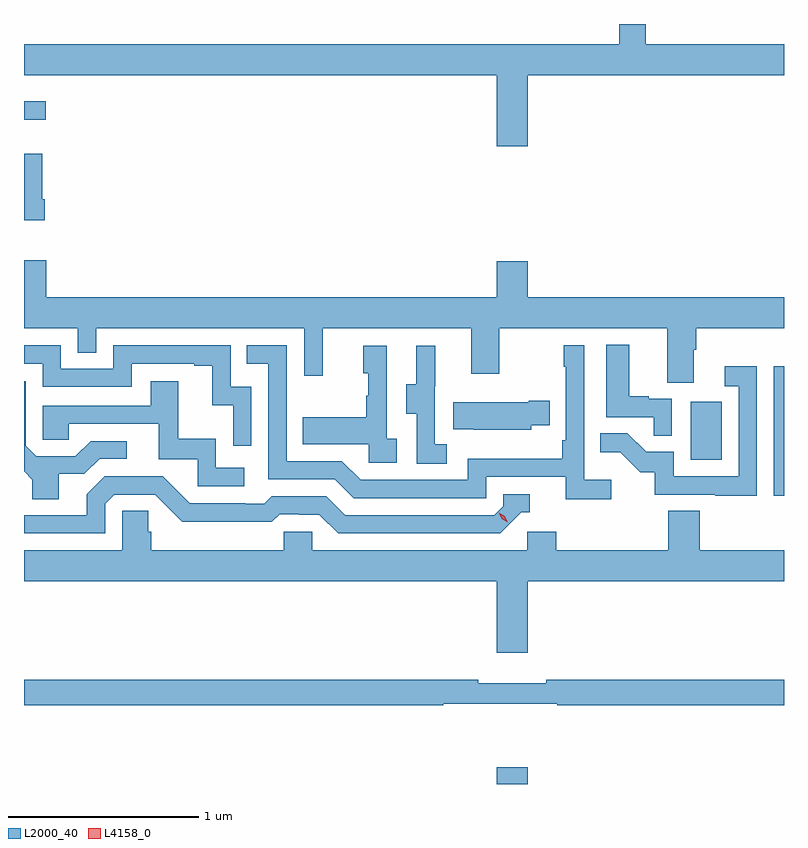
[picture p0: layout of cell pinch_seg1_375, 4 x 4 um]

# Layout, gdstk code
import gdstk
lib = gdstk.Library(unit=1e-6, precision=1e-09)
def R(c, l, rs):  # rectangles x0, y0, x1, y1
    for r in rs: c.add(gdstk.rectangle(r[:2], r[2:], *l))
def P(c, l, *ps):  # polygons
    for p in ps: c.add(gdstk.Polygon(p, *l))
L2000_40 = (2000, 40)
L4158_0 = (4158, 0)

pinch_seg1_375 = lib.new_cell('pinch_seg1_375')
R(pinch_seg1_375, L2000_40, [(968.204,540.01,968.368,540.097), (969.663,541.528,969.716,542.209), (969.224,541.716,969.388,542.023), (965.716,543.507,965.83,543.604)])
P(pinch_seg1_375, L2000_40, [(968.368,543.74),(969.716,543.74),(969.716,543.904),(968.989,543.904),(968.989,544.01),(968.849,544.01),(968.849,543.904),(965.716,543.904),(965.716,543.74),(968.204,543.74),(968.204,543.366),(968.368,543.366)],
  [(965.825,543.088),(965.812,543.088),(965.812,543.328),(965.716,543.328),(965.716,542.976),(965.825,542.976)],
  [(969.241,542.296),(969.254,542.296),(969.254,542.408),(969.716,542.408),(969.716,542.572),(968.368,542.572),(968.368,542.761),(968.204,542.761),(968.204,542.572),(965.834,542.572),(965.834,542.767),(965.716,542.767),(965.716,542.408),(966,542.408),(966,542.281),(966.096,542.281),(966.096,542.408),(967.191,542.408),(967.191,542.16),(967.289,542.16),(967.289,542.408),(968.069,542.408),(968.069,542.169),(968.217,542.169),(968.217,542.408),(969.101,542.408),(969.101,542.122),(969.241,542.122)],
  [(969.126,542.037),(969.005,542.037),(969.005,542.05),(968.902,542.05),(968.902,542.323),(968.78,542.323),(968.78,541.941),(969.031,541.941),(969.031,541.843),(969.126,541.843)],
  [(968.806,541.612),(968.664,541.612),(968.664,542.32),(968.556,542.32),(968.556,542.207),(968.568,542.207),(968.568,541.819),(968.548,541.819),(968.548,541.723),(968.052,541.723),(968.052,541.611),(967.488,541.611),(967.389,541.71),(967.098,541.71),(967.098,542.319),(966.889,542.319),(966.889,542.223),(967.002,542.223),(967.002,541.614),(967.352,541.614),(967.451,541.515),(968.148,541.515),(968.148,541.626),(968.567,541.626),(968.567,541.51),(968.806,541.51)],
  [(966.912,542.1),(966.804,542.1),(966.804,542.319),(966.186,542.319),(966.186,542.196),(965.91,542.196),(965.91,542.319),(965.716,542.319),(965.716,542.223),(965.814,542.223),(965.814,542.1),(966.282,542.1),(966.282,542.223),(966.611,542.223),(966.611,542.211),(966.707,542.211),(966.707,542.003),(966.816,542.003),(966.816,541.791),(966.912,541.791)],
  [(967.678,541.826),(967.626,541.826),(967.626,542.317),(967.502,542.317),(967.502,542.172),(967.528,542.172),(967.528,542.054),(967.518,542.054),(967.518,541.939),(967.183,541.939),(967.183,541.799),(967.53,541.799),(967.53,541.701),(967.678,541.701)],
  [(967.942,541.799),(967.878,541.799),(967.878,542.103),(967.88,542.103),(967.88,542.317),(967.781,542.317),(967.781,542.115),(967.727,542.115),(967.727,541.96),(967.782,541.96),(967.782,541.696),(967.942,541.696)],
  [(969.573,542.209),(969.405,542.209),(969.405,542.103),(969.477,542.103),(969.477,541.629),(969.135,541.629),(969.135,541.758),(968.99,541.758),(968.892,541.856),(968.749,541.856),(968.749,541.757),(968.853,541.757),(968.96,541.65),(969.037,541.65),(969.037,541.533),(969.355,541.533),(969.355,541.528),(969.573,541.528)],
  [(966.874,541.674),(966.726,541.674),(966.726,541.828),(966.527,541.828),(966.527,542.131),(966.383,542.131),(966.383,542.001),(965.814,542.001),(965.814,541.821),(965.951,541.821),(965.951,541.905),(966.425,541.905),(966.425,541.719),(966.63,541.719),(966.63,541.578),(966.874,541.578)],
  [(965.899,541.642),(966.034,541.642),(966.114,541.722),(966.256,541.722),(966.256,541.815),(966.068,541.815),(965.987,541.734),(965.781,541.734),(965.724,541.791),(965.724,542.131),(965.716,542.131),(965.716,541.655),(965.759,541.612),(965.759,541.51),(965.899,541.51)],
  [(968.385,541.898),(968.483,541.898),(968.483,542.028),(968.372,542.028),(968.372,542.02),(967.975,542.02),(967.975,541.877),(968.083,541.877),(968.083,541.874),(968.385,541.874)],
  [(966.144,541.485),(966.192,541.533),(966.408,541.533),(966.55,541.391),(966.786,541.391),(966.786,541.389),(967.019,541.389),(967.061,541.431),(967.164,541.431),(967.164,541.428),(967.271,541.428),(967.37,541.329),(968.223,541.329),(968.334,541.44),(968.377,541.44),(968.377,541.536),(968.238,541.536),(968.238,541.473),(968.19,541.425),(967.407,541.425),(967.308,541.524),(967.019,541.524),(966.98,541.485),(966.881,541.485),(966.881,541.488),(966.588,541.488),(966.447,541.629),(966.141,541.629),(966.047,541.535),(966.047,541.425),(965.716,541.425),(965.716,541.329),(966.144,541.329)],
  [(968.368,541.076),(969.716,541.076),(969.716,541.24),(969.272,541.24),(969.272,541.448),(969.107,541.448),(969.107,541.24),(968.516,541.24),(968.516,541.338),(968.364,541.338),(968.364,541.24),(967.233,541.24),(967.233,541.338),(967.083,541.338),(967.083,541.24),(966.386,541.24),(966.386,541.338),(966.371,541.338),(966.371,541.448),(966.234,541.448),(966.234,541.24),(965.716,541.24),(965.716,541.076),(968.204,541.076),(968.204,540.702),(968.368,540.702)],
  [(967.922,540.432),(968.522,540.432),(968.522,540.424),(969.716,540.424),(969.716,540.56),(968.464,540.56),(968.464,540.541),(968.108,540.541),(968.108,540.56),(965.716,540.56),(965.716,540.424),(967.922,540.424)])
P(pinch_seg1_375, L4158_0, [(968.261,541.388),(968.23,541.406),(968.214,541.438),(968.214,541.438),(968.214,541.438),(968.245,541.42),(968.262,541.388),(968.262,541.388)])

lib.write_gds('pinch_seg1_375.gds')
